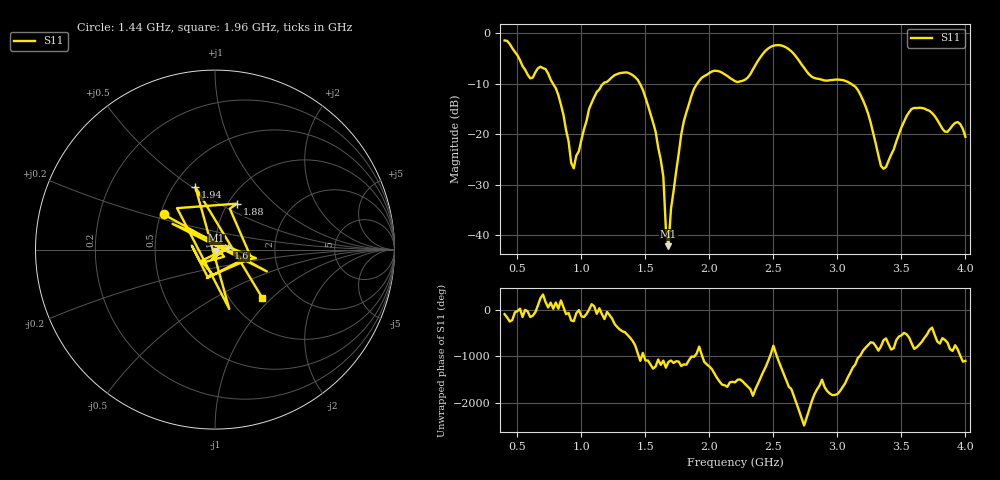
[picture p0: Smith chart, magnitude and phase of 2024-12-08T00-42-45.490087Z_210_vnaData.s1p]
!Created with skrf (http://scikit-rf.org).
# Hz S RI R 50.0
!freq ReS11 ImS11
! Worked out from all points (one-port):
!   181 points, 400 MHz to 4 GHz, reference 50 ohm
!   lowest |S11| = -42.1 dB at 1.68 GHz (marker M1), VSWR 1.02, Z = 50.6 - j0.553 ohm
!   |S11| at or under -10 dB: 778.9 MHz to 1.168 GHz (389.3 MHz wide, 40 % of centre); 1.458 GHz to 1.902 GHz (444.4 MHz wide, 26.4 % of centre); 3.108 GHz to end of sweep
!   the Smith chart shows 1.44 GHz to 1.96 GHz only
!   S11 on the Smith chart (normalised r, x): 1.44 GHz: 0.52, +0.23; 1.6 GHz: 1.16, +0.02; 1.88 GHz: 1.10, +0.61; 1.94 GHz: 0.64, +0.51; 1.96 GHz: 1.40, -0.88
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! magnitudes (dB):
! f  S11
! 400 MHz  -1.4
! 600 MHz  -8.9
! 720 MHz  -7.1
! 860 MHz  -16.2
! 940 MHz  -26.7
! 1.1 GHz  -12.6
! 1.3 GHz  -7.9
! 1.44 GHz  -9.2
! 1.6 GHz  -22.6
! 1.64 GHz  -28.3
! 1.66 GHz  -38.8
! 1.68 GHz  -42.1
! 1.7 GHz  -34.7
! 1.76 GHz  -23.9
! 1.88 GHz  -10.9
! 1.94 GHz  -8.8
! 1.96 GHz  -8.4
! 2.2 GHz  -9.5
! 2.48 GHz  -2.6
! 2.66 GHz  -4.1
! 2.8 GHz  -8.6
! 3.1 GHz  -9.9
! 3.22 GHz  -14.5
! 3.36 GHz  -26.8
! 3.56 GHz  -15.6
! 3.84 GHz  -19.4
! 3.94 GHz  -17.5
! 4 GHz  -20.5
